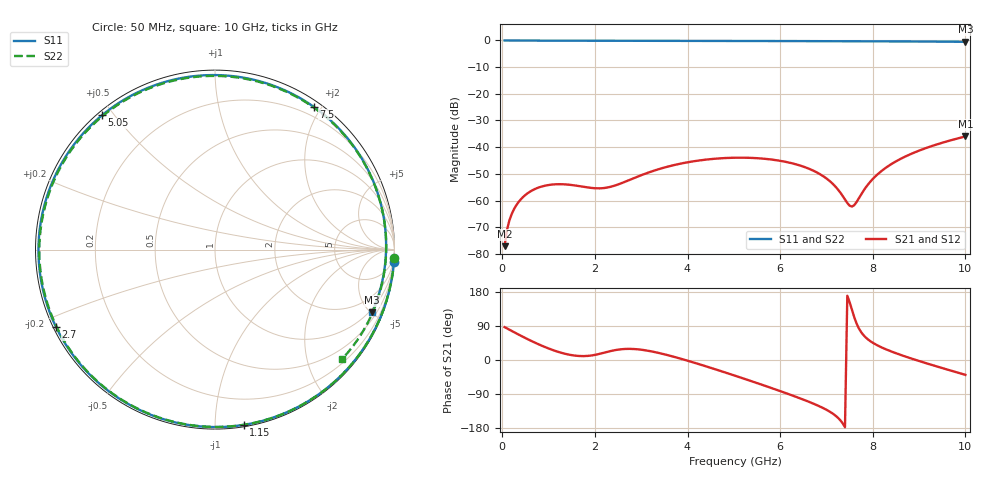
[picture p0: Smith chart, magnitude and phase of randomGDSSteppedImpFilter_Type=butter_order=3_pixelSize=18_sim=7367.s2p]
! freq	dB(S11)	phase(S11)	dB(S12)	phase(S12)
!  dB(S21)	phase(S21)	dB(S22)	phase(S22)
!S-par simulation data
#  GHz  S  DB  R 50
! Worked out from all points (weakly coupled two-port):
!   200 points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, 50 MHz to 10 GHz, reference 50 ohm
!   highest |S21| = -35.98 dB at 10 GHz (marker M1); lowest = -77.1 dB at 50 MHz (marker M2)
!   lowest |S11| = -0.5 dB at 10 GHz (marker M3), VSWR 33.88, Z = 40.6 - j254 ohm
!   |S11| at or under -10 dB: nowhere
!   |S22| runs from -0.6 to 0.0 dB; largest |S21 - S12| = 0
!   S11 on the Smith chart (normalised r, x): 50 MHz: 0, -30; 1.15 GHz: 0.01, -1.18; 2.7 GHz: 0.01, -0.23; 5.05 GHz: 0.01, +0.47; 7.5 GHz: 0.08, +1.90; 10 GHz: 0.81, -5.08
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0.05  -0.00 -3.9  -77.10 86.7  -77.10 86.7  -0.00 -2.8
0.1  -0.01 -7.7  -71.11 83.4  -71.11 83.4  -0.01 -5.6
0.15  -0.02 -11.5  -67.63 80.1  -67.63 80.1  -0.01 -8.5
0.25  -0.03 -19.0  -63.32 73.6  -63.32 73.6  -0.02 -14.0
0.35  -0.04 -26.5  -60.59 67.2  -60.59 67.2  -0.03 -19.6
0.75  -0.07 -55.0  -55.35 43.2  -55.35 43.2  -0.05 -41.4
1.15  -0.09 -80.7  -53.91 23.7  -53.91 23.7  -0.08 -62.5
1.75  -0.11 -113.4  -54.84 10.3  -54.84 10.3  -0.11 -92.2
2.2  -0.12 -134.0  -55.31 19.3  -55.31 19.3  -0.13 -112.8
2.7  -0.13 -154.1  -52.62 29.4  -52.62 29.4  -0.14 -134.4
3.4  -0.14 -178.8  -48.13 18.0  -48.13 18.0  -0.17 -162.6
4.2  -0.17 155.7  -45.10 -9.2  -45.10 -9.2  -0.20 166.7
5.05  -0.19 130.1  -43.94 -42.4  -43.94 -42.4  -0.24 134.9
5.9  -0.23 104.6  -44.84 -77.7  -44.84 -77.7  -0.27 103.1
6.7  -0.26 80.3  -48.66 -114.2  -48.66 -114.2  -0.30 73.1
7.15  -0.27 66.3  -53.98 -142.6  -53.98 -142.6  -0.32 56.3
7.5  -0.29 55.4  -61.92 152.7  -61.92 152.7  -0.33 43.4
7.6  -0.29 52.3  -61.73 113.0  -61.73 113.0  -0.34 39.8
7.95  -0.31 41.3  -52.87 49.5  -52.87 49.5  -0.35 27.2
8.35  -0.34 28.7  -46.91 24.9  -46.91 24.9  -0.38 13.0
9.15  -0.40 3.9  -40.32 -8.4  -40.32 -8.4  -0.45 -13.9
10  -0.51 -21.7  -35.98 -39.2  -35.98 -39.2  -0.59 -40.8
